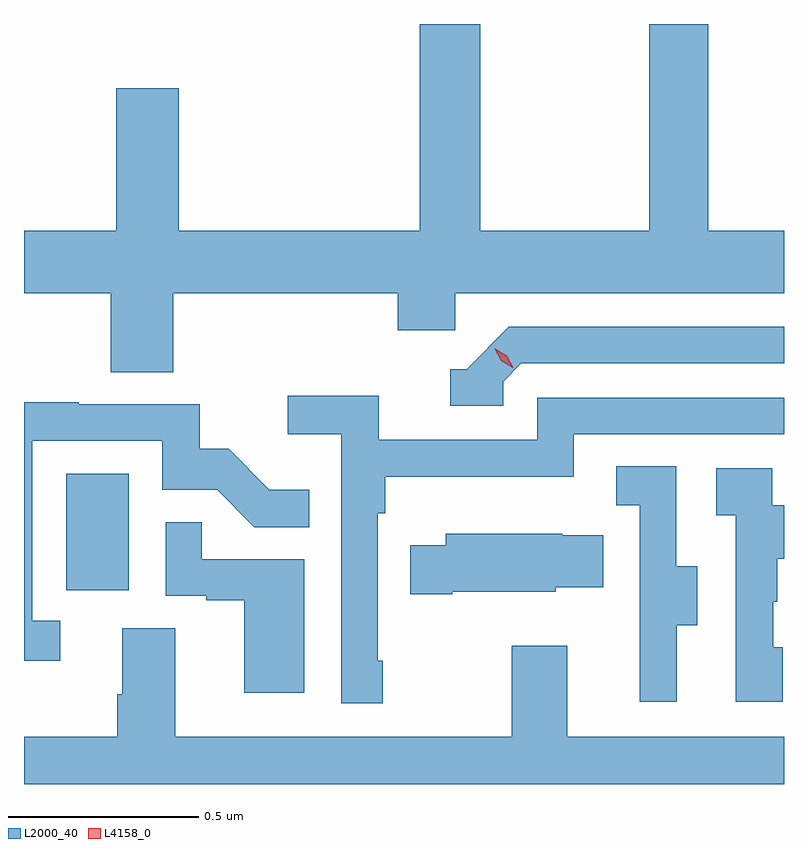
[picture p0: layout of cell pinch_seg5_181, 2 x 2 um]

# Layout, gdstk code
import gdstk
lib = gdstk.Library(unit=1e-6, precision=1e-09)
def R(c, l, rs):  # rectangles x0, y0, x1, y1
    for r in rs: c.add(gdstk.rectangle(r[:2], r[2:], *l))
def P(c, l, *ps):  # polygons
    for p in ps: c.add(gdstk.Polygon(p, *l))
L2000_40 = (2000, 40)
L4158_0 = (4158, 0)

pinch_seg5_181 = lib.new_cell('pinch_seg5_181')
R(pinch_seg5_181, L2000_40, [(1141.898,875.958,1142.062,876.265)])
P(pinch_seg5_181, L2000_40, [(1142.18,876.74),(1142.771,876.74),(1142.771,876.642),(1142.922,876.642),(1142.922,876.74),(1143.787,876.74),(1143.787,876.904),(1143.588,876.904),(1143.588,877.448),(1143.433,877.448),(1143.433,876.904),(1142.988,876.904),(1142.988,877.448),(1142.828,877.448),(1142.828,876.904),(1142.194,876.904),(1142.194,877.279),(1142.03,877.279),(1142.03,876.904),(1141.787,876.904),(1141.787,876.74),(1142.015,876.74),(1142.015,876.532),(1142.18,876.532)],
  [(1143.048,876.507),(1143.096,876.555),(1143.787,876.555),(1143.787,876.651),(1143.063,876.651),(1142.952,876.54),(1142.909,876.54),(1142.909,876.444),(1143.048,876.444)],
  [(1142.731,875.773),(1142.718,875.773),(1142.718,876.161),(1142.738,876.161),(1142.738,876.257),(1143.234,876.257),(1143.234,876.369),(1143.787,876.369),(1143.787,876.465),(1143.138,876.465),(1143.138,876.354),(1142.72,876.354),(1142.72,876.47),(1142.481,876.47),(1142.481,876.368),(1142.622,876.368),(1142.622,875.661),(1142.731,875.661)],
  [(1141.882,875.877),(1141.809,875.877),(1141.809,876.351),(1142.151,876.351),(1142.151,876.222),(1142.295,876.222),(1142.393,876.124),(1142.537,876.124),(1142.537,876.223),(1142.433,876.223),(1142.326,876.33),(1142.25,876.33),(1142.25,876.447),(1141.931,876.447),(1141.931,876.452),(1141.787,876.452),(1141.787,875.772),(1141.882,875.772)],
  [(1143.505,875.866),(1143.559,875.866),(1143.559,876.021),(1143.504,876.021),(1143.504,876.284),(1143.345,876.284),(1143.345,876.181),(1143.408,876.181),(1143.408,875.877),(1143.407,875.877),(1143.407,875.664),(1143.505,875.664)],
  [(1143.784,875.808),(1143.759,875.808),(1143.759,875.927),(1143.769,875.927),(1143.769,876.041),(1143.787,876.041),(1143.787,876.181),(1143.756,876.181),(1143.756,876.279),(1143.609,876.279),(1143.609,876.155),(1143.66,876.155),(1143.66,875.664),(1143.784,875.664)],
  [(1142.524,876.039),(1142.255,876.039),(1142.255,876.137),(1142.16,876.137),(1142.16,875.943),(1142.267,875.943),(1142.267,875.931),(1142.366,875.931),(1142.366,875.688),(1142.524,875.688)],
  [(1142.914,875.954),(1143.186,875.954),(1143.186,875.966),(1143.311,875.966),(1143.311,876.103),(1143.203,876.103),(1143.203,876.106),(1142.897,876.106),(1142.897,876.076),(1142.803,876.076),(1142.803,875.947),(1142.914,875.947)],
  [(1143.787,875.572),(1143.217,875.572),(1143.217,875.812),(1143.07,875.812),(1143.07,875.572),(1142.185,875.572),(1142.185,875.858),(1142.045,875.858),(1142.045,875.684),(1142.033,875.684),(1142.033,875.572),(1141.787,875.572),(1141.787,875.448),(1143.787,875.448)])
P(pinch_seg5_181, L4158_0, [(1143.073,876.543),(1143.043,876.562),(1143.026,876.594),(1143.026,876.594),(1143.027,876.594),(1143.057,876.575),(1143.074,876.543),(1143.074,876.543)])

lib.write_gds('pinch_seg5_181.gds')
